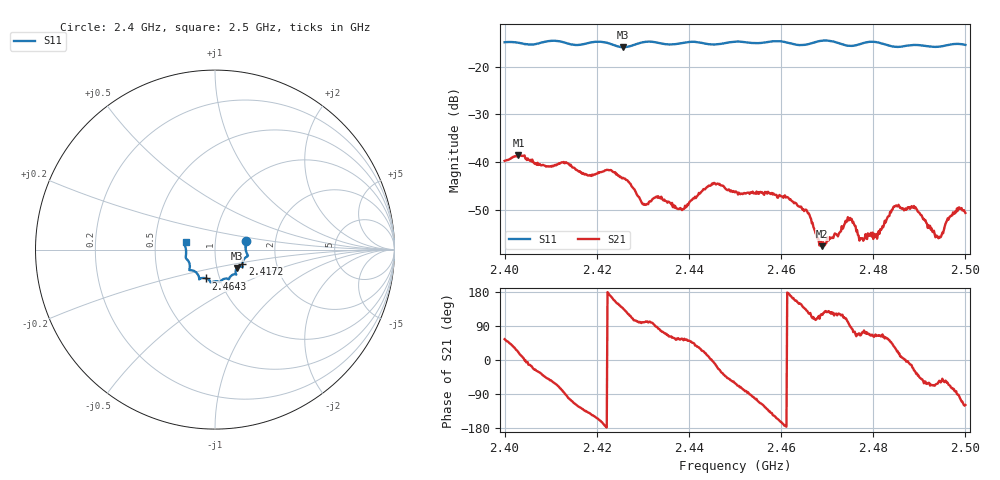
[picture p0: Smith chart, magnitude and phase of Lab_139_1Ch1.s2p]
# Hz S RI R 50
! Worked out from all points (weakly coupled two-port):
!   601 points, 2.4 GHz to 2.5 GHz, reference 50 ohm
!   highest |S21| = -38.58 dB at 2.403 GHz (marker M1); lowest = -57.7 dB at 2.4688 GHz (marker M2)
!   lowest |S11| = -15.9 dB at 2.4257 GHz (marker M3), VSWR 1.38, Z = 62.4 - j13.1 ohm
!   |S11| at or under -10 dB: start of sweep to end of sweep
!   S12 and S22 are empty: the file has one direction only
!   S11 on the Smith chart (normalised r, x): 2.4 GHz: 1.41, +0.14; 2.4172 GHz: 1.34, -0.22; 2.4643 GHz: 0.86, -0.28; 2.5 GHz: 0.72, +0.06
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2.4e9  0.1735 0.0484  0.00589 0.0084  0 0  0 0
2.403e9  0.1746 0.0342  0.011 0.00408  0 0  0 0
2.416667e9  0.1531 -0.0748  -0.00471 -0.00615  0 0  0 0
2.417167e9  0.1523 -0.0805  -0.00507 -0.0056  0 0  0 0
2.425667e9  0.1225 -0.1023  -0.00496 0.00467  0 0  0 0
2.430167e9  0.1176 -0.1371  -0.000582 0.00359  0 0  0 0
2.433333e9  0.1126 -0.1372  0.000548 0.00433  0 0  0 0
2.4385e9  0.0809 -0.1572  0.00172 0.0026  0 0  0 0
2.445167e9  0.054 -0.162  0.00581 -0.000342  0 0  0 0
2.45e9  0.0286 -0.1808  0.00233 -0.00418  0 0  0 0
2.464333e9  -0.0499 -0.1605  -0.00286 0.00183  0 0  0 0
2.466667e9  -0.0761 -0.1591  -0.000881 0.0021  0 0  0 0
2.468833e9  -0.0875 -0.1655  -0.000675 0.00112  0 0  0 0
2.474833e9  -0.1046 -0.1276  -7.87e-05 0.00246  0 0  0 0
2.4775e9  -0.1312 -0.1153  0.00053 0.00149  0 0  0 0
2.4805e9  -0.143 -0.1113  0.000635 0.00152  0 0  0 0
2.483333e9  -0.1403 -0.0897  0.00161 0.00216  0 0  0 0
2.485e9  -0.1441 -0.0719  0.00312 0.0016  0 0  0 0
2.488833e9  -0.1625 -0.0461  0.00308 -0.00156  0 0  0 0
2.494333e9  -0.1621 0.00193  0.000946 -0.00134  0 0  0 0
2.497e9  -0.1694 0.027  0.000756 -0.00265  0 0  0 0
2.5e9  -0.1636 0.0424  -0.0014 -0.00256  0 0  0 0
